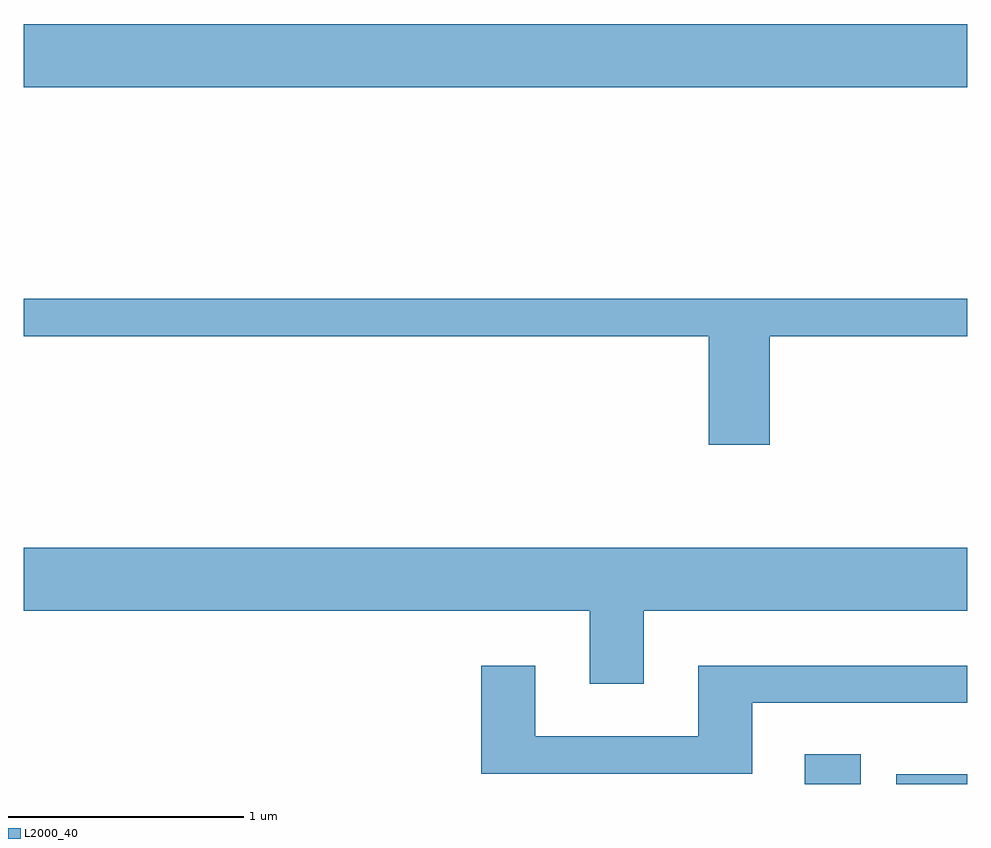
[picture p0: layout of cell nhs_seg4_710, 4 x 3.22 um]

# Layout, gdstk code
import gdstk
lib = gdstk.Library(unit=1e-6, precision=1e-09)
def R(c, l, rs):  # rectangles x0, y0, x1, y1
    for r in rs: c.add(gdstk.rectangle(r[:2], r[2:], *l))
def P(c, l, *ps):  # polygons
    for p in ps: c.add(gdstk.Polygon(p, *l))
L2000_40 = (2000, 40)

nhs_seg4_710 = lib.new_cell('nhs_seg4_710')
R(nhs_seg4_710, L2000_40, [(208.923,1313.982,209.159,1314.109), (209.311,1313.982,209.611,1314.024), (205.611,1316.936,209.611,1317.204)])
P(nhs_seg4_710, L2000_40, [(208.774,1315.881),(209.611,1315.881),(209.611,1316.039),(205.611,1316.039),(205.611,1315.881),(208.516,1315.881),(208.516,1315.421),(208.774,1315.421)],
  [(208.239,1314.716),(209.611,1314.716),(209.611,1314.984),(205.611,1314.984),(205.611,1314.716),(208.011,1314.716),(208.011,1314.406),(208.239,1314.406)],
  [(208.699,1314.326),(209.611,1314.326),(209.611,1314.484),(208.471,1314.484),(208.471,1314.184),(207.779,1314.184),(207.779,1314.484),(207.551,1314.484),(207.551,1314.026),(208.699,1314.026)])

lib.write_gds('nhs_seg4_710.gds')
